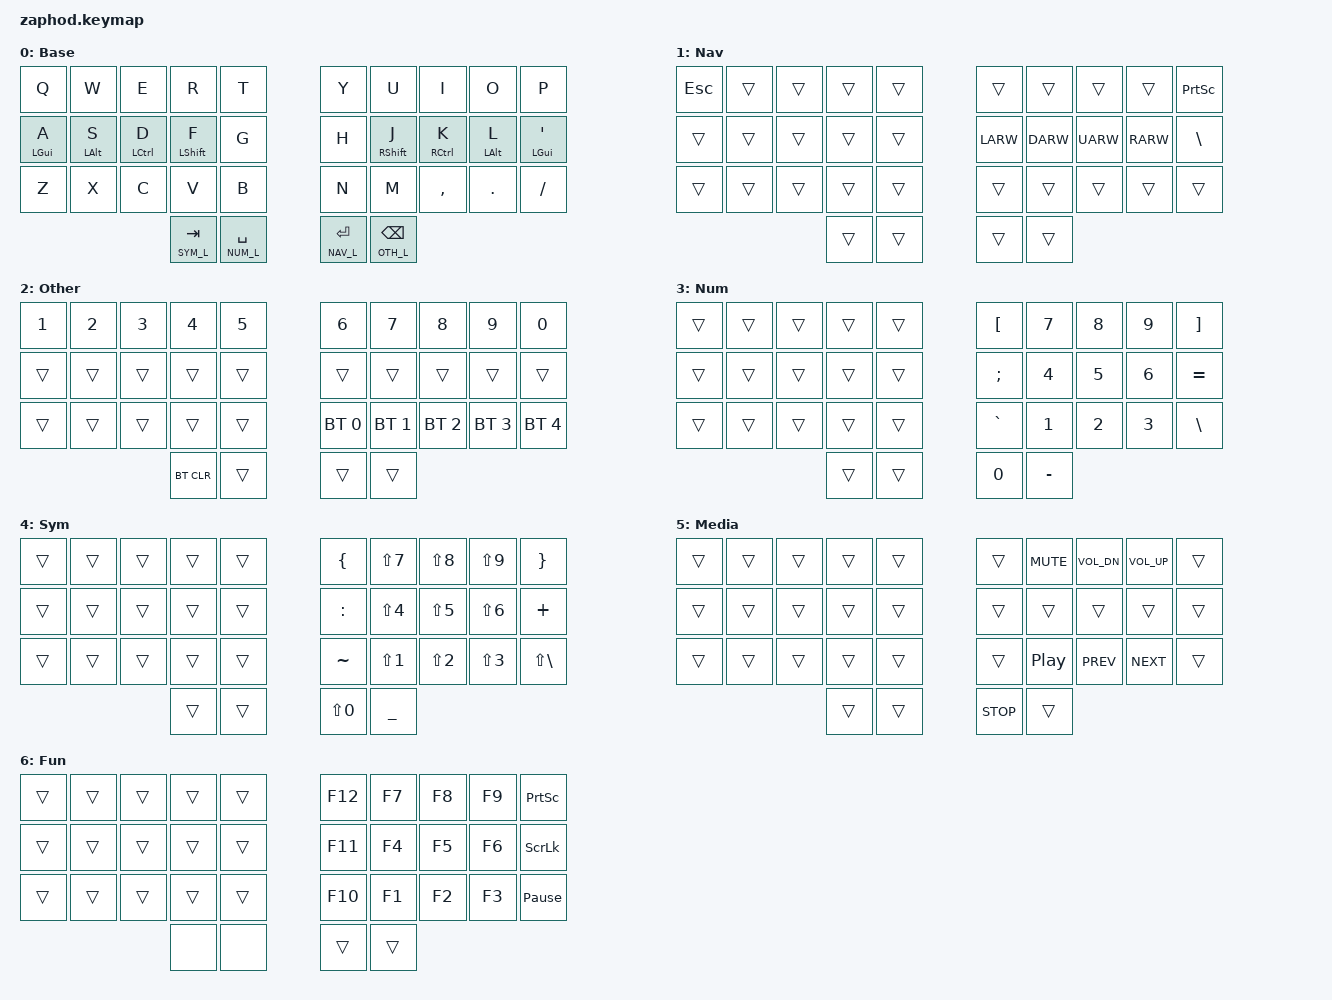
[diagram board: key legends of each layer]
/*
 * Copyright (c) 2021 Pete Johanson
 *
 * SPDX-License-Identifier: MIT
 */

#include <behaviors.dtsi>
#include <dt-bindings/zmk/keys.h>
#include <dt-bindings/zmk/bt.h>
#include <dt-bindings/zmk/outputs.h>

#define NAV_L 1
#define OTH_L 2
#define NUM_L 3
#define SYM_L 4
#define MED_L 5
#define FUN_L 6

// Using layer taps on thumbs, having quick tap as well helps w/ repeating space/backspace
&lt { quick_tap_ms = <200>; };

/ {
    combos {
        compatible = "zmk,combos";

        med_mo {
	    timeout-ms = <50>;
            key-positions = <30 31>;
            bindings = <&mo MED_L>;
        };

        fn_mo {
	    timeout-ms = <50>;
            key-positions = <32 33>;
            bindings = <&mo FUN_L>;
        };

    };

    behaviors {
        hm: homerow_mods {
            compatible = "zmk,behavior-hold-tap";
            label = "homerow mods";
            #binding-cells = <2>;
            tapping_term_ms = <200>;
            flavor = "tap-preferred";
            bindings = <&kp>, <&kp>;
        };
    };

    keymap {
        compatible = "zmk,keymap";

        default_layer {
            label = "Base";
            bindings = <
                &kp Q      &kp W      &kp E       &kp R          &kp T         &kp Y            &kp U          &kp I       &kp O      &kp P
                &hm LGUI A &hm LALT S &hm LCTRL D &hm LSHFT F    &kp G         &kp H            &hm RSHFT J    &hm RCTRL K &hm LALT L &hm LGUI QUOT
                &kp Z      &kp X      &kp C       &kp V          &kp B         &kp N            &kp M          &kp COMMA   &kp DOT    &kp FSLH
                                                  &lt SYM_L TAB  &lt NUM_L SPACE &lt NAV_L RET &lt OTH_L BKSP
            >;
        };

        nav_layer {
            label = "Nav";
            bindings = <
                &kp ESC    &trans     &trans      &trans          &trans       &trans           &trans         &trans      &trans     &kp PSCRN
                &trans     &trans     &trans      &trans          &trans       &kp LARW         &kp DARW       &kp UARW    &kp RARW   &kp BSLH
                &trans     &trans     &trans      &trans          &trans       &trans           &trans         &trans      &trans     &trans
                                                  &trans          &trans       &trans           &trans
            >;
        };

        other_layer {
            label = "Other";
            bindings = <
                &kp N1     &kp N2     &kp N3      &kp N4          &kp N5       &kp N6           &kp N7         &kp N8       &kp N9       &kp N0
                &trans     &trans     &trans      &trans          &trans       &trans           &trans         &trans       &trans       &trans
                &trans     &trans     &trans      &trans          &trans       &bt BT_SEL 0     &bt BT_SEL 1   &bt BT_SEL 2 &bt BT_SEL 3 &bt BT_SEL 4
                                                  &bt BT_CLR      &trans       &trans           &trans
            >;
        };

        num_layer {
            label = "Num";
            bindings = <
                &trans	   &trans     &trans      &trans          &trans        &kp LBKT        &kp N7         &kp N8      &kp N9     &kp RBKT
                &trans	   &trans     &trans      &trans          &trans        &kp SEMI        &kp N4         &kp N5      &kp N6     &kp EQUAL
                &trans	   &trans     &trans      &trans          &trans        &kp GRAVE       &kp N1         &kp N2      &kp N3     &kp BSLH
                                                  &trans          &trans        &kp N0          &kp MINUS
            >;
        };

        sym_layer {
            label = "Sym";
            bindings = <
                &trans	   &trans     &trans      &trans          &trans        &kp LBRC     &kp LS(N7)  &kp LS(N8)  &kp LS(N9) &kp RBRC
                &trans	   &trans     &trans      &trans          &trans        &kp COLON    &kp LS(N4)  &kp LS(N5)  &kp LS(N6) &kp PLUS
                &trans	   &trans     &trans      &trans          &trans        &kp TILDE    &kp LS(N1)  &kp LS(N2)  &kp LS(N3) &kp LS(BSLH)
                                                  &trans          &trans        &kp LS(N0)   &kp UNDER
            >;
        };

        media_layer {
            label = "Media";
            bindings = <
                &trans	   &trans     &trans      &trans          &trans       &trans           &kp K_MUTE     &kp C_VOL_DN   &kp C_VOL_UP &trans
                &trans     &trans     &trans      &trans          &trans       &trans           &trans         &trans         &trans       &trans
                &trans     &trans     &trans      &trans          &trans       &trans           &kp C_PLAY_PAUSE  &kp C_PREV  &kp C_NEXT  &trans
                                                  &trans          &trans       &kp C_STOP       &trans
            >;
        };

        fun_layer {
            label = "Fun";
            bindings = <
                &trans	   &trans     &trans      &trans      &trans        &kp F12     &kp F7     &kp F8      &kp F9     &kp PSCRN
                &trans	   &trans     &trans      &trans      &trans        &kp F11     &kp F4     &kp F5      &kp F6     &kp SLCK
                &trans	   &trans     &trans      &trans      &trans        &kp F10     &kp F1     &kp F2      &kp F3     &kp PAUSE_BREAK
                                                   &none      &none         &trans      &trans
            >;
        };
    };
};

